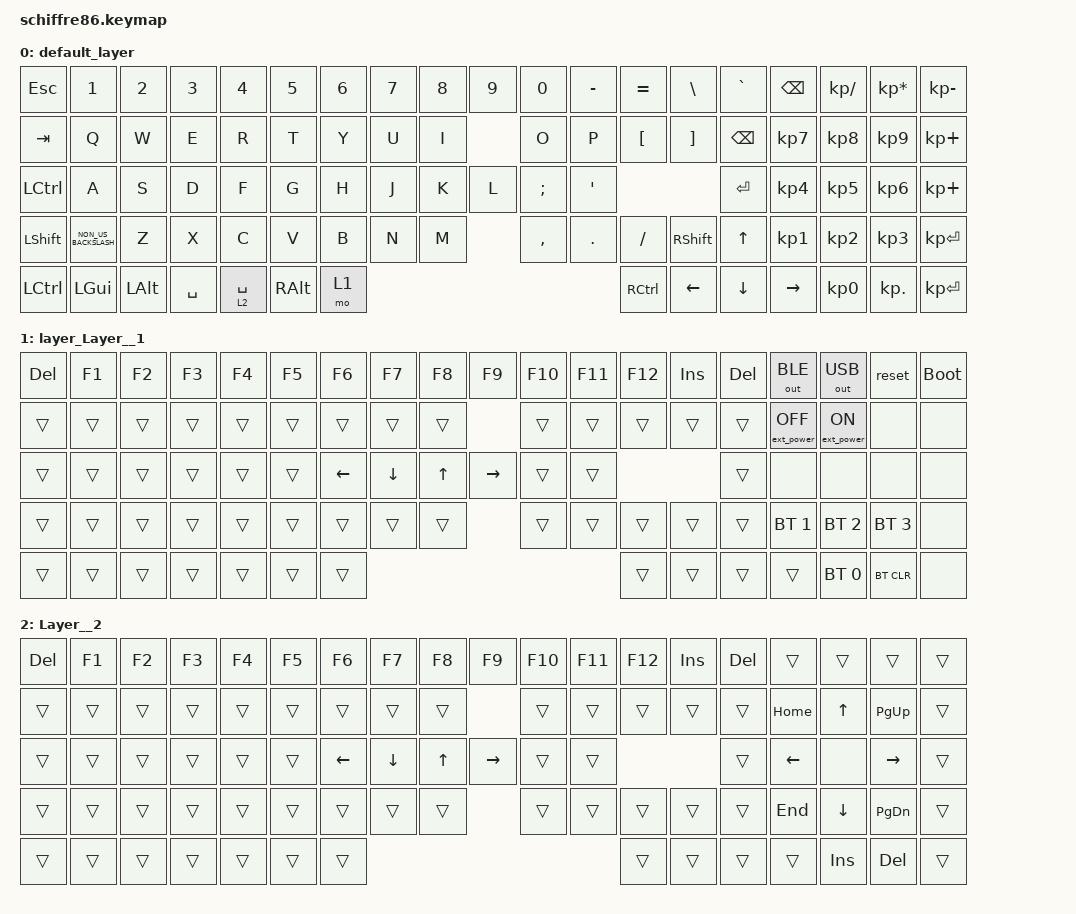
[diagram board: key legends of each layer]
/*
 * Copyright (c) 2020 The ZMK Contributors
 *
 * SPDX-License-Identifier: MIT
 */
/* THIS FILE WAS GENERATED!
 *
 * This file was generated automatically. You may or may not want to
 * edit it directly.
 */

#include <behaviors.dtsi>
#include <dt-bindings/zmk/keys.h>
#include <dt-bindings/zmk/outputs.h>
#include <dt-bindings/zmk/ext_power.h>
#include <dt-bindings/zmk/bt.h>

/ {
    keymap {
        compatible = "zmk,keymap";

        default_layer {
            bindings = <
  &kp ESC                &kp N1    &kp N2  &kp N3  &kp N4     &kp N5  &kp N6       &kp N7  &kp N8     &kp N9    &kp N0  &kp MINUS  &kp EQUAL   &kp BSLH      &kp GRAVE   &kp BSPC  &kp KP_SLASH  &kp KP_MULTIPLY  &kp KP_MINUS
  &kp TAB                 &kp Q     &kp W   &kp E   &kp R      &kp T   &kp Y        &kp U   &kp I      &kp O     &kp P   &kp LBKT   &kp RBKT             &kp BACKSPACE  &kp KP_N7     &kp KP_N8        &kp KP_N9   &kp KP_PLUS
&kp LCTRL                 &kp A     &kp S   &kp D   &kp F      &kp G   &kp H        &kp J   &kp K      &kp L  &kp SEMI    &kp SQT                            &kp ENTER  &kp KP_N4     &kp KP_N5        &kp KP_N6   &kp KP_PLUS
&kp LSHFT  &kp NON_US_BACKSLASH     &kp Z   &kp X   &kp C      &kp V   &kp B        &kp N   &kp M  &kp COMMA   &kp DOT   &kp FSLH             &kp RSHFT         &kp UP  &kp KP_N1     &kp KP_N2        &kp KP_N3  &kp KP_ENTER
&kp LCTRL              &kp LGUI  &kp LALT                  &kp SPACE          &lt 2 SPACE                     &kp RALT      &mo 1  &kp RCTRL   &kp LEFT       &kp DOWN  &kp RIGHT     &kp KP_N0       &kp KP_DOT  &kp KP_ENTER
            >;
        };

        layer_Layer__1 {
            bindings = <
&kp DEL  &kp F1  &kp F2  &kp F3  &kp F4  &kp F5    &kp F6    &kp F7  &kp F8     &kp F9  &kp F10  &kp F11  &kp F12  &kp INS  &kp DEL       &out OUT_BLE      &out OUT_USB        &reset  &bootloader
 &trans  &trans  &trans  &trans  &trans  &trans    &trans    &trans  &trans     &trans   &trans   &trans   &trans            &trans  &ext_power EP_OFF  &ext_power EP_ON         &none        &none
 &trans  &trans  &trans  &trans  &trans  &trans  &kp LEFT  &kp DOWN  &kp UP  &kp RIGHT   &trans   &trans                     &trans              &none             &none         &none        &none
 &trans  &trans  &trans  &trans  &trans  &trans    &trans    &trans  &trans     &trans   &trans   &trans            &trans   &trans       &bt BT_SEL 1      &bt BT_SEL 2  &bt BT_SEL 3        &none
 &trans  &trans  &trans                  &trans              &trans                      &trans   &trans   &trans   &trans   &trans             &trans      &bt BT_SEL 0    &bt BT_CLR        &none
            >;
        };

        Layer__2 {
            bindings = <
&kp DEL  &kp F1  &kp F2  &kp F3  &kp F4  &kp F5    &kp F6    &kp F7  &kp F8     &kp F9  &kp F10  &kp F11  &kp F12  &kp INS  &kp DEL    &trans    &trans     &trans  &trans
 &trans  &trans  &trans  &trans  &trans  &trans    &trans    &trans  &trans     &trans   &trans   &trans   &trans            &trans  &kp HOME    &kp UP  &kp PG_UP  &trans
 &trans  &trans  &trans  &trans  &trans  &trans  &kp LEFT  &kp DOWN  &kp UP  &kp RIGHT   &trans   &trans                     &trans  &kp LEFT     &none  &kp RIGHT  &trans
 &trans  &trans  &trans  &trans  &trans  &trans    &trans    &trans  &trans     &trans   &trans   &trans            &trans   &trans   &kp END  &kp DOWN  &kp PG_DN  &trans
 &trans  &trans  &trans                  &trans              &trans                      &trans   &trans   &trans   &trans   &trans    &trans   &kp INS    &kp DEL  &trans
            >;
        };
    };
};
